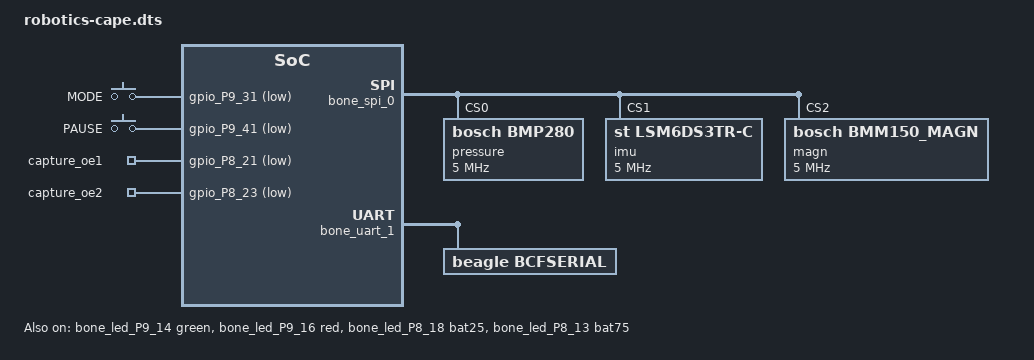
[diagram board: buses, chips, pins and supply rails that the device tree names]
// SPDX-License-Identifier: GPL-2.0
/*
 * Copyright (C) 2022 Jason Kridner, BeagleBoard.org Foundation
 */

/dts-v1/;
/plugin/;

#include <dt-bindings/gpio/gpio.h>
#include <dt-bindings/interrupt-controller/arm-gic.h>
#include <dt-bindings/interrupt-controller/irq.h>
#include <dt-bindings/pinctrl/k3.h>
#include <dt-bindings/board/k3-j721e-bone-pins.h>
#include <dt-bindings/soc/ti,sci_pm_domain.h>
#include <dt-bindings/input/linux-event-codes.h>

&{/chosen} {
	overlays {
		BB-ROBOTICS-CAPE-00B0.kernel = __TIMESTAMP__;
	};
};

&{/} {
	gpio_keys: gpio-keys {
		compatible = "gpio-keys";

		cape_btn0: cape_btn0 {
			label = "MODE";
			linux,code = <KEY_MODE>;
			gpios = <gpio_P9_31 GPIO_ACTIVE_LOW>;
		};

		cape_btn1: cape_btn1 {
			label = "PAUSE";
			linux,code = <KEY_PAUSE>;
			gpios = <gpio_P9_41 GPIO_ACTIVE_LOW>;
		};
	};
};

&bone_led_P9_14 {
	status = "okay";
	label = "green";
	linux,default-trigger = "default-off";
};

&bone_led_P9_16 {
	status = "okay";
	label = "red";
	linux,default-trigger = "default-off";
};

&bone_led_P8_18 {
	status = "okay";
	label = "bat25";
	linux,default-trigger = "default-off";
};

&bone_led_P8_13 {
	status = "okay";
	label = "bat75";
	linux,default-trigger = "default-off";
};

&bone_led_P8_21 {
	status = "okay";
	label = "capture_oe1";
	linux,default-trigger = "default-off";
	gpios = <gpio_P8_21 GPIO_ACTIVE_LOW>;
};

&bone_led_P8_23 {
	status = "okay";
	label = "capture_oe2";
	linux,default-trigger = "default-on";
	gpios = <gpio_P8_23 GPIO_ACTIVE_LOW>;
};

&cape_header {
	pinctrl-names = "default";
	pinctrl-0 = <
		&P8_03_gpio_pin		/* Motor1_SLP# */
		&P8_05_gpio_pin		/* Motor1_FAULT# */
		&P8_07_gpio_pin		/* Motor1_OC# */
		&P8_09_gpio_pin		/* Motor4_FAULT# */
		&P8_11_pruout_pin	/* Motor4_PWM */
		&P8_13_gpio_pin		/* LED4 */
		&P8_15_pruin_pin	/* Capture4 */
		&P8_17_gpio_pd_pin	/* Motor4_IN1 */
		&P8_19_gpio_pd_pin	/* Motor4_IN2 */
		&P8_21_gpio_pd_pin	/* CAP_OE#1 */
		&P8_23_gpio_pd_pin	/* CAP_OE#2 */
		&P8_25_pruin_pin	/* Ultrasonic1 */
		&P8_27_pruin_pin	/* Ultrasonic2 */
		&P8_29_uart_pin		/* Lidar_RX - UART8_TX */
		&P8_31_gpio_pin		/* Motor3_FAULT# */
		&P8_33_qep_pin		/* QEP2_B - EQEP1_B */
		&P8_35_qep_pin		/* QEP2_A - EQEP1_A */
		&P8_37_pruin_pin	/* Ultrasonic3 */
		&P8_39_pruin_pin	/* Ultrasonic4 */
		&P8_41_pruout_pin	/* Servo7 */
		&P8_43_pruout_pin	/* Servo8 */
		&P8_45_pruout_pin	/* Servo9 */

		&P8_04_pruout_pin	/* Motor1_PWM */
		&P8_06_gpio_pd_pin	/* Motor1_IN1 */
		&P8_08_gpio_pd_pin	/* Motor1_IN2 */
		&P8_10_gpio_pd_pin	/* Motor3_IN1 */
		&P8_12_pruout_pin	/* Motor3_PWM */
		&P8_14_pruout_pin	/* Servo2 */
		&P8_16_gpio_pd_pin	/* Motor3_IN */
		&P8_18_gpio_pin		/* LED3 */
		&P8_20_pruout_pin	/* Servo5 */
		&P8_22_uart_pin		/* BCF_SERIAL_TX - UART2_RX */
		&P8_24_pruout_pin	/* Lidar_PWM */
		&P8_26_pruout_pin	/* Servo6 */
		&P8_28_uart_pin		/* Lidar_TX - UART8_RX */
		&P8_30_gpio_pin		/* Lidar_OE */
		&P8_32_gpio_pin		/* BCF_RST */
		&P8_34_uart_pin		/* BCF_SERIAL_RX - UART2_TX */
		&P8_36_gpio_pin		/* 6DOF_INT */
		&P8_38_gpio_pd_pin	/* Motor2_IN1 */
		&P8_40_gpio_pd_pin	/* Motor2_IN2 */
		&P8_42_gpio_pin		/* Motor234_nSLEEP */
		&P8_44_gpio_pin		/* Magnetometer_INT */

		&P9_11_gpio_pin		/* Motor2_FAULT# */
		&P9_13_pruout_pin	/* Motor2_PWM */
		&P9_15_pruout_pin	/* Servo10 */
		&P9_17_spi_pin  	/* Barometer_CS# - SPI6_CS0 */
		&P9_19_pruout_pin	/* Servo1 */
		&P9_21_spi_pin		/* SPI6_D0 - SDO */
		&P9_23_spi_pin		/* IMU_CS# - SPI6_CS1 */
		&P9_25_gpio_pin		/* Magnetometer_CS# */
		&P9_27_qep_pin		/* QEP1_B - EQEP0_B */
		&P9_29_pruin_pin	/* Capture3 */
		&P9_31_gpio_pin		/* USER_BUTTON1 - MODE */
		&P9_33_default_pin	/* Motor2_Current - AIN4 */
		&P9_35_default_pin	/* Motor3_Current - AIN6 */
		&P9_37_uart_pin		/* GPS_TXD */
		&P9_39_default_pin	/* Battery_Voltage - AIN0 */
		&P9_41_gpio_pin		/* USER_BUTTON2 - PAUSE */

		&P9_12_pruout_pin	/* Servo4 */
		&P9_14_gpio_pin		/* LED1 */
		&P9_16_gpio_pin		/* LED2 */
		&P9_18_spi_pin		/* SPI6_D1 - SDI */
		&P9_20_pruout_pin	/* Servo3 */
		&P9_22_spi_pin		/* SPI6_CLK */
		&P9_24_i2c_pin		/* EEPROM_I2C_SCL */
		&P9_26_i2c_pin		/* EEPROM_I2C_SDA */
		&P9_28_pruin_pin	/* Capture1 */
		&P9_30_pruin_pin	/* Capture2 */
		&P9_36_default_pin	/* Motor4_Current - AIN5 */
		&P9_38_uart_pin		/* GPS_RXD */
		&P9_40_default_pin	/* Motor1_Current - AIN1 */
		&P9_42_qep_pin		/* QEP1_A - EQEP0_A */
	>;
};

&bone_spi_0 {
	ti,spi-num-cs = <3>;
	ti,pindir-d0-out-d1-in;
	cs-gpios = <0>, /* P9_17 */
		   <0>, /* P9_23 */
		   <gpio_P9_25 GPIO_ACTIVE_LOW>;

	#address-cells = <1>;
	#size-cells = <0>;

	pressure@0 {
		compatible = "bosch,bmp280";
		reg = <0>;	/* CE0 */
		spi-max-frequency = <5000000>;
	};

	imu@1 {
		compatible = "st,lsm6ds3tr-c";
		#address-cells = <1>;
		#size-cells = <0>;
		reg = <1>;	/* CE1 */
		spi-max-frequency = <5000000>;
	};

	magn@2 {
		compatible = "bosch,bmm150_magn";
		#address-cells = <1>;
		#size-cells = <0>;
		reg = <2>;	/* CE2 */
		spi-max-frequency = <5000000>;
	};
};

&cbass_main {
	#address-cells = <2>;
	#size-cells = <2>;

	/* TODO: the base for this should be in the board DT */
	eqep0: qep@3200000 {
		compatible = "ti,am3352-eqep";
		reg = <0 0x3200000 0 0x100>;
		power-domains = <&k3_pds 94 TI_SCI_PD_EXCLUSIVE>;
		clocks = <&k3_clks 94 0>;
		clock-names = "eqep0-ficlk";
		interrupt-parent = <&gic500>;
		interrupts = <GIC_SPI 322 IRQ_TYPE_EDGE_RISING>;
		interrupt-names = "eqep0";
		symlink = "bone/qep/0"; /* A - P9_42, B - P9_27 */

		count_mode = <0>;
		swap_input = <0>;
		invert_qa = <1>;
		invert_qb = <1>;
		invert_qi = <0>;
		invert_qs = <0>;
	};

	eqep1: qep@3210000 {
		compatible = "ti,am3352-eqep";
		reg = <0 0x3210000 0 0x100>;
		power-domains = <&k3_pds 95 TI_SCI_PD_EXCLUSIVE>;
		clocks = <&k3_clks 95 0>;
		clock-names = "eqep1-ficlk";
		interrupt-parent = <&gic500>;
		interrupts = <GIC_SPI 323 IRQ_TYPE_EDGE_RISING>;
		interrupt-names = "eqep1";
		symlink = "bone/qep/1"; /* A - P8_35, B - P8_33 */

		count_mode = <0>;
		swap_input = <0>;
		invert_qa = <1>;
		invert_qb = <1>;
		invert_qi = <0>;
		invert_qs = <0>;
	};

	eqep2: qep@3220000 {
		status = "disabled";
		compatible = "ti,am3352-eqep";
		reg = <0 0x3220000 0 0x100>;
		power-domains = <&k3_pds 96 TI_SCI_PD_EXCLUSIVE>;
		clocks = <&k3_clks 96 0>;
		clock-names = "eqep2-ficlk";
		interrupt-parent = <&gic500>;
		interrupts = <GIC_SPI 324 IRQ_TYPE_EDGE_RISING>;
		interrupt-names = "eqep2";

		count_mode = <0>;
		swap_input = <0>;
		invert_qa = <1>;
		invert_qb = <1>;
		invert_qi = <0>;
		invert_qs = <0>;
	};
};

/* TODO: this is not the standard bone/uart/1 pinout location */
&bone_uart_1 {
	status = "okay";

	bcfserial {
		compatible = "beagle,bcfserial";
	};
};
